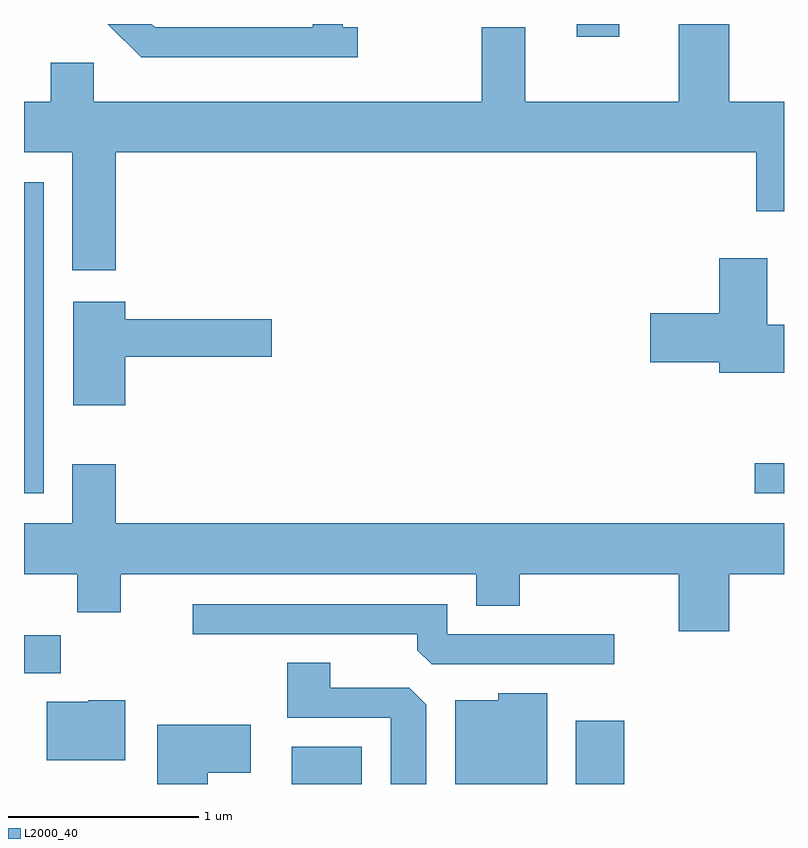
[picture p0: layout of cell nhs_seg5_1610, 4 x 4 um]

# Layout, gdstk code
import gdstk
lib = gdstk.Library(unit=1e-6, precision=1e-09)
def R(c, l, rs):  # rectangles x0, y0, x1, y1
    for r in rs: c.add(gdstk.rectangle(r[:2], r[2:], *l))
def P(c, l, *ps):  # polygons
    for p in ps: c.add(gdstk.Polygon(p, *l))
L2000_40 = (2000, 40)

nhs_seg5_1610 = lib.new_cell('nhs_seg5_1610')
R(nhs_seg5_1610, L2000_40, [(233.021,1520.072,233.389,1520.269), (234.516,1520.072,234.769,1520.404), (231.611,1520.656,231.804,1520.854), (231.611,1521.601,231.714,1523.239), (235.458,1521.601,235.611,1521.759), (234.521,1524.006,234.744,1524.072)])
P(nhs_seg5_1610, L2000_40, [(232.094,1523.396),(235.466,1523.396),(235.466,1523.086),(235.611,1523.086),(235.611,1523.664),(235.324,1523.664),(235.324,1524.072),(235.056,1524.072),(235.056,1523.664),(234.249,1523.664),(234.249,1524.054),(234.021,1524.054),(234.021,1523.664),(231.979,1523.664),(231.979,1523.869),(231.751,1523.869),(231.751,1523.664),(231.611,1523.664),(231.611,1523.396),(231.866,1523.396),(231.866,1522.776),(232.094,1522.776)],
  [(233.368,1524.054),(233.289,1524.054),(233.289,1524.072),(233.131,1524.072),(233.131,1524.054),(232.302,1524.054),(232.284,1524.072),(232.053,1524.072),(232.229,1523.896),(233.368,1523.896)],
  [(235.611,1522.489),(235.524,1522.489),(235.524,1522.839),(235.271,1522.839),(235.271,1522.549),(234.906,1522.549),(234.906,1522.291),(235.271,1522.291),(235.271,1522.236),(235.611,1522.236)],
  [(232.144,1522.321),(232.914,1522.321),(232.914,1522.519),(232.144,1522.519),(232.144,1522.609),(231.871,1522.609),(231.871,1522.066),(232.144,1522.066)],
  [(235.324,1521.176),(235.611,1521.176),(235.611,1521.444),(232.094,1521.444),(232.094,1521.754),(231.866,1521.754),(231.866,1521.444),(231.611,1521.444),(231.611,1521.176),(231.891,1521.176),(231.891,1520.976),(232.119,1520.976),(232.119,1521.176),(233.991,1521.176),(233.991,1521.011),(234.219,1521.011),(234.219,1521.176),(235.056,1521.176),(235.056,1520.876),(235.324,1520.876)],
  [(234.718,1520.859),(233.839,1520.859),(233.839,1521.019),(232.498,1521.019),(232.498,1520.861),(233.681,1520.861),(233.681,1520.777),(233.757,1520.701),(234.718,1520.701)],
  [(233.729,1520.489),(233.639,1520.579),(233.224,1520.579),(233.224,1520.709),(232.996,1520.709),(232.996,1520.421),(233.541,1520.421),(233.541,1520.072),(233.729,1520.072)],
  [(234.364,1520.549),(234.106,1520.549),(234.106,1520.514),(233.881,1520.514),(233.881,1520.072),(234.364,1520.072)],
  [(232.144,1520.514),(231.95,1520.514),(231.95,1520.504),(231.731,1520.504),(231.731,1520.196),(232.144,1520.196)],
  [(232.579,1520.131),(232.804,1520.131),(232.804,1520.384),(232.311,1520.384),(232.311,1520.072),(232.579,1520.072)])

lib.write_gds('nhs_seg5_1610.gds')
